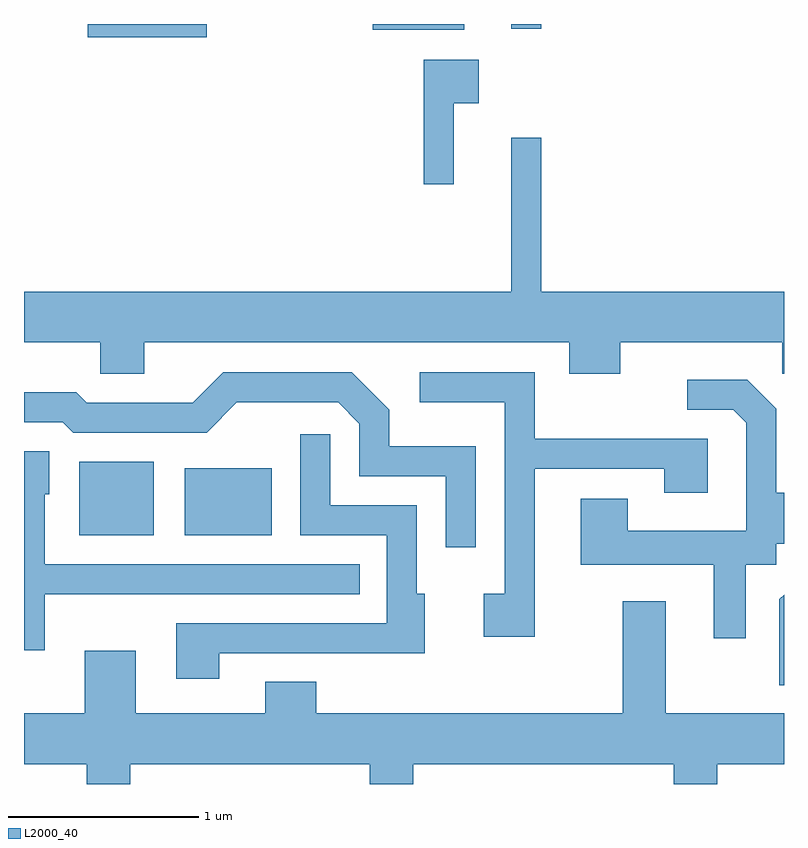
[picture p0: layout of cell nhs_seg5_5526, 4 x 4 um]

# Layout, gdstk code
import gdstk
lib = gdstk.Library(unit=1e-6, precision=1e-09)
def R(c, l, rs):  # rectangles x0, y0, x1, y1
    for r in rs: c.add(gdstk.rectangle(r[:2], r[2:], *l))
def P(c, l, *ps):  # polygons
    for p in ps: c.add(gdstk.Polygon(p, *l))
L2000_40 = (2000, 40)

nhs_seg5_5526 = lib.new_cell('nhs_seg5_5526')
R(nhs_seg5_5526, L2000_40, [(349.901,1411.381,350.294,1411.769), (350.456,1411.381,350.914,1411.734), (349.946,1414.001,350.574,1414.072), (351.446,1414.041,351.929,1414.072), (352.176,1414.048,352.334,1414.072)])
P(nhs_seg5_5526, L2000_40, [(351.874,1413.656),(352.004,1413.656),(352.004,1413.884),(351.716,1413.884),(351.716,1413.228),(351.874,1413.228)],
  [(350.244,1412.396),(352.481,1412.396),(352.481,1412.231),(352.749,1412.231),(352.749,1412.396),(353.601,1412.396),(353.601,1412.231),(353.611,1412.231),(353.611,1412.664),(352.334,1412.664),(352.334,1413.473),(352.176,1413.473),(352.176,1412.664),(349.611,1412.664),(349.611,1412.396),(350.011,1412.396),(350.011,1412.231),(350.244,1412.231)],
  [(352.299,1411.731),(352.981,1411.731),(352.981,1411.606),(353.209,1411.606),(353.209,1411.889),(352.299,1411.889),(352.299,1412.239),(351.693,1412.239),(351.693,1412.081),(352.141,1412.081),(352.141,1411.074),(352.031,1411.074),(352.031,1410.846),(352.299,1410.846)],
  [(351.989,1411.849),(351.534,1411.849),(351.534,1412.042),(351.337,1412.239),(350.659,1412.239),(350.499,1412.079),(349.942,1412.079),(349.887,1412.134),(349.611,1412.134),(349.611,1411.976),(349.814,1411.976),(349.869,1411.921),(350.572,1411.921),(350.732,1412.081),(351.264,1412.081),(351.376,1411.969),(351.376,1411.691),(351.831,1411.691),(351.831,1411.318),(351.989,1411.318)],
  [(353.409,1411.226),(353.569,1411.226),(353.569,1411.336),(353.611,1411.336),(353.611,1411.604),(353.569,1411.604),(353.569,1412.047),(353.417,1412.199),(353.103,1412.199),(353.103,1412.041),(353.344,1412.041),(353.411,1411.974),(353.411,1411.404),(352.789,1411.404),(352.789,1411.574),(352.541,1411.574),(352.541,1411.226),(353.241,1411.226),(353.241,1410.838),(353.409,1410.838)],
  [(350.639,1410.761),(351.719,1410.761),(351.719,1411.074),(351.679,1411.074),(351.679,1411.539),(351.224,1411.539),(351.224,1411.913),(351.066,1411.913),(351.066,1411.381),(351.521,1411.381),(351.521,1410.919),(350.411,1410.919),(350.411,1410.626),(350.639,1410.626)],
  [(349.719,1411.071),(351.378,1411.071),(351.378,1411.229),(349.719,1411.229),(349.719,1411.596),(349.744,1411.596),(349.744,1411.824),(349.611,1411.824),(349.611,1410.776),(349.719,1410.776)],
  [(353.611,1411.069),(353.586,1411.044),(353.586,1410.593),(353.611,1410.593)],
  [(350.169,1410.176),(351.431,1410.176),(351.431,1410.072),(351.659,1410.072),(351.659,1410.176),(353.031,1410.176),(353.031,1410.072),(353.259,1410.072),(353.259,1410.176),(353.611,1410.176),(353.611,1410.444),(352.989,1410.444),(352.989,1411.034),(352.761,1411.034),(352.761,1410.444),(351.149,1410.444),(351.149,1410.609),(350.881,1410.609),(350.881,1410.444),(350.199,1410.444),(350.199,1410.774),(349.931,1410.774),(349.931,1410.444),(349.611,1410.444),(349.611,1410.176),(349.941,1410.176),(349.941,1410.072),(350.169,1410.072)])

lib.write_gds('nhs_seg5_5526.gds')
